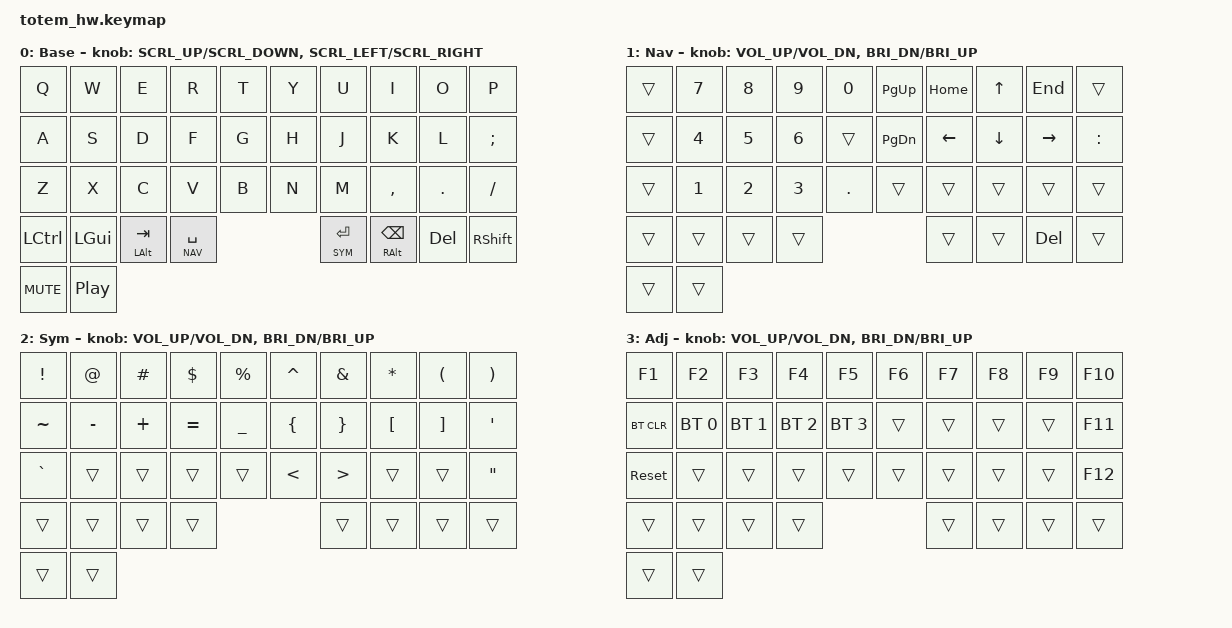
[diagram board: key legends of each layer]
#define ZMK_POINTING_DEFAULT_SCRL_VAL 30

#include <behaviors.dtsi>
#include <dt-bindings/zmk/keys.h>
#include <dt-bindings/zmk/bt.h>
#include <dt-bindings/zmk/outputs.h>
#include <dt-bindings/zmk/pointing.h>

#define BASE 0
#define NAV  1
#define SYM  2
#define ADJ  3

&msc {
    acceleration-exponent = <0>;
    time-to-max-speed-ms = <0>;
};

/ {
    combos {
        compatible = "zmk,combos";
        combo_esc {
            timeout-ms = <50>;
            key-positions = <0 1>; 
            bindings = <&kp ESC>;
            require-prior-idle-ms = <100>;
        };
        combo_del {
            timeout-ms = <50>;
            key-positions = <8 9>;
            bindings = <&kp DEL>;
            require-prior-idle-ms = <100>;
        };
    };

    conditional_layers {
        compatible = "zmk,conditional-layers";
        tri_layer {
            if-layers = <NAV SYM>;
            then-layer = <ADJ>;
        };
    };

    

    behaviors {
            lt_opt: layer_tap_optimized {
                compatible = "zmk,behavior-hold-tap";
                #binding-cells = <2>;
                flavor = "balanced";
                tapping-term-ms = <350>;
                quick-tap-ms = <175>;
                bindings = <&mo>, <&kp>;
            };

            mt_opt: mod_tap_optimized {
                compatible = "zmk,behavior-hold-tap";
                #binding-cells = <2>;
                flavor = "tap-preferred";
                tapping-term-ms = <200>;
                quick-tap-ms = <150>;
                bindings = <&kp>, <&kp>;
            };
                        
            scroll_mouse: scroll_mouse {
                        compatible = "zmk,behavior-sensor-rotate-var";
                        #sensor-binding-cells = <2>;
                        bindings = <&msc>, <&msc>;
                        tap-ms = <50>;
            };
        };

    keymap {
        compatible = "zmk,keymap";

        base_layer {
            display-name = "Base";
            bindings = <
    &kp Q      &kp W      &kp E       &kp R       &kp T           &kp Y      &kp U      &kp I       &kp O      &kp P
    &kp A      &kp S      &kp D       &kp F       &kp G           &kp H      &kp J      &kp K       &kp L      &kp SEMI
    &kp Z      &kp X      &kp C       &kp V       &kp B           &kp N      &kp M      &kp COMMA   &kp DOT    &kp FSLH
    &kp LCTRL  &kp LGUI   &mt_opt LALT TAB  &lt_opt NAV SPACE   &lt_opt SYM RET   &mt_opt RALT BSPC   &kp DEL    &kp RSHFT
    &kp C_MUTE &kp C_PLAY_PAUSE
            >;
            sensor-bindings = <&scroll_mouse SCRL_UP SCRL_DOWN &scroll_mouse SCRL_LEFT SCRL_RIGHT>;
        };

        nav_layer {
            display-name = "Nav";
            bindings = <
    &trans     &kp N7     &kp N8      &kp N9      &kp N0          &kp PG_UP  &kp HOME   &kp UP      &kp END    &trans
    &trans     &kp N4     &kp N5      &kp N6      &trans          &kp PG_DN  &kp LEFT   &kp DOWN    &kp RIGHT  &kp COLON
    &trans     &kp N1     &kp N2      &kp N3      &kp DOT         &trans     &trans     &trans      &trans     &trans
    &trans     &trans     &trans      &trans                      &trans     &trans     &kp DEL     &trans
    &trans     &trans
            >;
            sensor-bindings = <&inc_dec_kp C_VOL_UP C_VOL_DN &inc_dec_kp C_BRI_DN C_BRI_UP>;
        };

        sym_layer {
            display-name = "Sym";
            bindings = <
    &kp EXCL   &kp AT     &kp HASH    &kp DLLR    &kp PRCNT       &kp CARET  &kp AMPS   &kp STAR    &kp LPAR   &kp RPAR
    &kp TILDE  &kp MINUS  &kp PLUS    &kp EQUAL   &kp UNDER       &kp LBRC   &kp RBRC   &kp LBKT    &kp RBKT   &kp SQT
    &kp GRAVE  &trans     &trans      &trans      &trans          &kp LT     &kp GT     &trans      &trans     &kp DQT
    &trans     &trans     &trans      &trans                      &trans     &trans     &trans      &trans
    &trans     &trans
            >;
            sensor-bindings = <&inc_dec_kp C_VOL_UP C_VOL_DN &inc_dec_kp C_BRI_DN C_BRI_UP>;
        };

        adj_layer {
            display-name = "Adj";
            bindings = <
    &kp F1        &kp F2        &kp F3        &kp F4        &kp F5           &kp F6           &kp F7           &kp F8           &kp F9           &kp F10
    &bt BT_CLR    &bt BT_SEL 0  &bt BT_SEL 1  &bt BT_SEL 2  &bt BT_SEL 3     &trans           &trans           &trans           &trans           &kp F11
    &sys_reset    &trans        &trans        &trans        &trans           &trans           &trans           &trans           &trans           &kp F12
    &trans        &trans        &trans        &trans                         &trans           &trans           &trans           &trans
    &trans        &trans
            >;
            sensor-bindings = <&inc_dec_kp C_VOL_UP C_VOL_DN &inc_dec_kp C_BRI_DN C_BRI_UP>;
        };
    };
};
